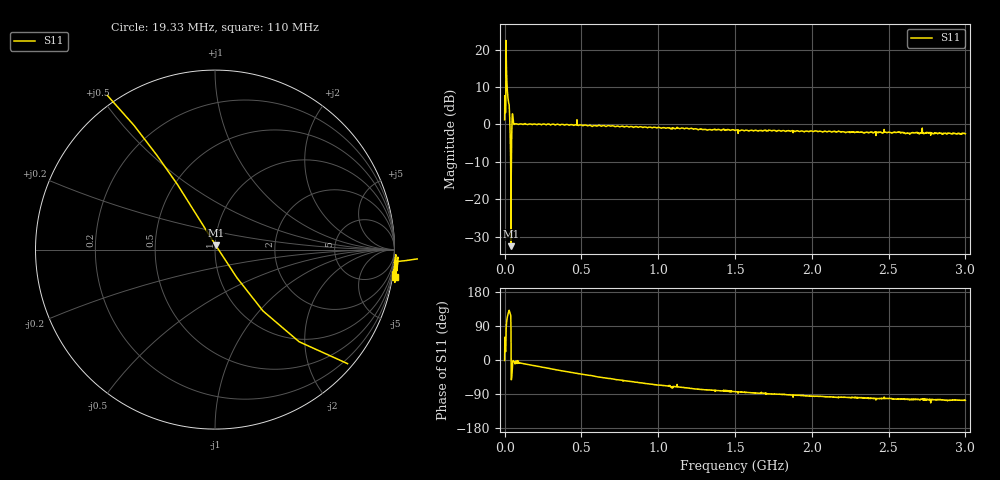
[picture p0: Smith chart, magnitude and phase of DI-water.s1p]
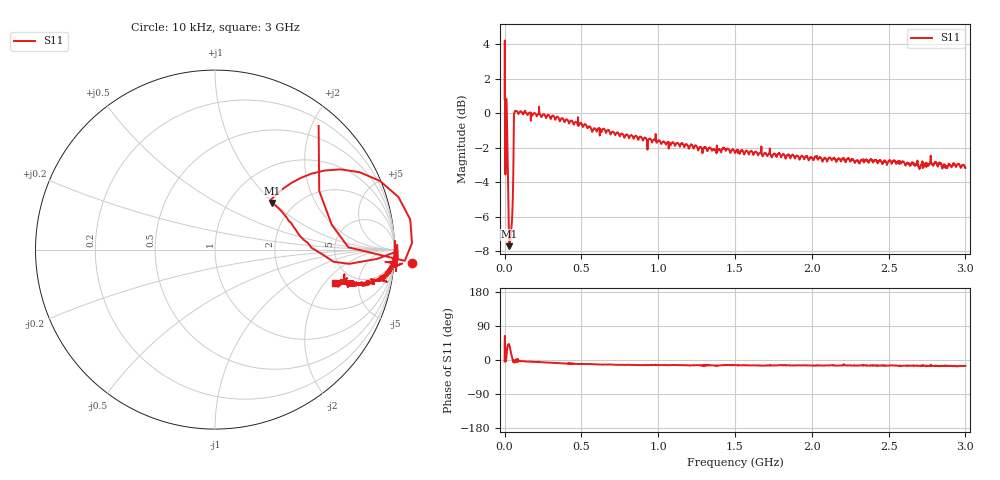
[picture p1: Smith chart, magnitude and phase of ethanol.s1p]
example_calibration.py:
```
#!/usr/bin/env python3
"""
Example: How to use the probe calibration system

This script shows how to:
1. Create a calibration from your reference liquid S1P files
2. Use it to convert unknown samples
3. Save/load calibrations
"""

import numpy as np
from pathlib import Path
from s1p_gui.calibration import ProbeCalibration, ReferenceLibrary
from s1p_gui.data_loader import S1PDataFile
import skrf as rf


def load_s1p_as_dict(filepath):
    """Load S1P file and return as dict with 's11_complex' and 'frequency'"""
    network = rf.Network(str(filepath))
    return {
        'frequency': network.f,
        's11_complex': network.s[:, 0, 0]
    }


def example_basic_calibration():
    """Basic example: Create calibration from three reference liquids"""
    print("=" * 60)
    print("EXAMPLE 1: Basic 3-Liquid Calibration")
    print("=" * 60)

    # Step 1: Create calibration object
    calibration = ProbeCalibration()

    # Step 2: Load reference permittivity data
    print("\n1. Loading reference data for 25°C...")
    reference_data = calibration.load_reference_data(temperature=25.0)
    print("   Loaded reference data for water, ethanol, isopropanol")

    # Step 3: Load your S1P measurements
    # NOTE: You need to have these files!
    print("\n2. Loading S11 measurements for reference liquids...")
    try:
        s11_measurements = {
            'water': load_s1p_as_dict('references/DI-water.s1p'),
            'ethanol': load_s1p_as_dict('references/ethanol.s1p'),
            'isopropanol': load_s1p_as_dict('references/propan-2-ol.s1p'),
        }
        print("   Successfully loaded all reference measurements")
    except FileNotFoundError:
        print("   ERROR: Could not find S1P files. Update the paths!")
        print("   Expected files: water.s1p, ethanol.s1p, isopropanol.s1p")
        return None

    # Step 4: Perform calibration
    print("\n3. Performing calibration...")
    if calibration.calibrate(s11_measurements, reference_data):
        print("   ✓ Calibration successful!")
        return calibration
    else:
        print("   ✗ Calibration failed!")
        return None


def example_convert_unknown(calibration):
    """Example: Use calibration to convert unknown sample"""
    print("\n" + "=" * 60)
    print("EXAMPLE 2: Convert Unknown Sample")
    print("=" * 60)

    if not calibration:
        print("No calibration available!")
        return

    print("\n1. Loading unknown sample...")
    try:
        unknown_data = load_s1p_as_dict('path/to/unknown_sample.s1p')
    except FileNotFoundError:
        print("   ERROR: Could not find unknown_sample.s1p")
        return

    print("   Loaded unknown sample")

    print("\n2. Converting S11 to permittivity...")
    epsilon_real, epsilon_imag = calibration.convert_s11_to_permittivity(
        unknown_data['s11_complex'],
        unknown_data['frequency']
    )

    print("   ✓ Conversion complete!")
    print(f"\n   Frequency range: {unknown_data['frequency'][0]/1e9:.2f} - {unknown_data['frequency'][-1]/1e9:.2f} GHz")
    print(f"   ε' range: {np.nanmin(epsilon_real):.2f} - {np.nanmax(epsilon_real):.2f}")
    print(f"   ε'' range: {np.nanmin(epsilon_imag):.2f} - {np.nanmax(epsilon_imag):.2f}")

    return epsilon_real, epsilon_imag


def example_save_load_calibration(calibration):
    """Example: Save and load calibration"""
    print("\n" + "=" * 60)
    print("EXAMPLE 3: Save and Load Calibration")
    print("=" * 60)

    if not calibration:
        print("No calibration to save!")
        return

    filepath = 'my_probe_calibration.pkl'

    print(f"\n1. Saving calibration to {filepath}...")
    if calibration.save(filepath):
        print("   ✓ Save successful!")

        print(f"\n2. Loading calibration from {filepath}...")
        loaded_cal = ProbeCalibration.load(filepath)
        if loaded_cal and loaded_cal.is_calibrated():
            print("   ✓ Load successful! Calibration is ready to use")
        else:
            print("   ✗ Load failed!")
    else:
        print("   ✗ Save failed!")


def example_with_data_manager():
    """Example: Using calibration with DataManager"""
    print("\n" + "=" * 60)
    print("EXAMPLE 4: Integration with DataManager")
    print("=" * 60)

    from s1p_gui.data_loader import DataManager

    # Create data manager
    print("\n1. Creating data manager...")
    data_manager = DataManager()

    # Load calibration (from previous save, or new)
    print("2. Loading calibration...")
    calibration = ProbeCalibration()
    calibration.load_reference_data()

    # Create dummy measurements for demo
    s11_measurements = {
        'water': {
            'frequency': np.linspace(0.5e9, 3e9, 16),
            's11_complex': 0.5 * np.ones(16)
        },
        'ethanol': {
            'frequency': np.linspace(0.5e9, 3e9, 16),
            's11_complex': 0.4 * np.ones(16)
        },
        'isopropanol': {
            'frequency': np.linspace(0.5e9, 3e9, 16),
            's11_complex': 0.45 * np.ones(16)
        }
    }

    if calibration.calibrate(s11_measurements):
        print("   ✓ Calibration complete")

        # Set calibration in data manager
        print("\n3. Setting calibration in data manager...")
        data_manager.set_calibration(calibration)
        print("   ✓ All future files will use this calibration")

        # When you add files, they automatically use the calibration
        print("\n4. Adding files (they use calibration automatically)...")
        try:
            data_file = data_manager.add_file(Path('path/to/sample.s1p'))
            if data_file:
                print("   ✓ File loaded with automatic calibration applied")
        except:
            print("   (File not found, but calibration is set up)")


def example_reference_data_structure():
    """Example: Understanding the reference data structure"""
    print("\n" + "=" * 60)
    print("EXAMPLE 5: Reference Data Structure")
    print("=" * 60)

    refs = ReferenceLibrary.get_water_25c()

    print("\nWater reference data at 25°C:")
    print(f"  Frequencies: {len(refs['frequency'])} points")
    print(f"  Range: {refs['frequency'][0]/1e9:.2f} - {refs['frequency'][-1]/1e9:.2f} GHz")
    print(f"\n  ε' (real permittivity):")
    print(f"    Min: {np.min(refs['epsilon_real']):.2f}")
    print(f"    Max: {np.max(refs['epsilon_real']):.2f}")
    print(f"\n  ε'' (imaginary permittivity):")
    print(f"    Min: {np.min(refs['epsilon_imag']):.2f}")
    print(f"    Max: {np.max(refs['epsilon_imag']):.2f}")


if __name__ == '__main__':
    print("\n")
    print("╔" + "=" * 58 + "╗")
    print("║" + " " * 58 + "║")
    print("║" + "  Probe Calibration Examples".center(58) + "║")
    print("║" + " " * 58 + "║")
    print("╚" + "=" * 58 + "╝")

    # Run examples
    example_reference_data_structure()

    cal = example_basic_calibration()

    if cal:
        example_convert_unknown(cal)
        example_save_load_calibration(cal)
        example_with_data_manager()

    print("\n" + "=" * 60)
    print("Examples complete!")
    print("=" * 60 + "\n")
```
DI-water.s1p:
# HZ S RI R 50
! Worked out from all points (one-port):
!   2020 points, 10 kHz to 3 GHz, reference 50 ohm
!   lowest |S11| = -32.5 dB at 41.61 MHz (marker M1), VSWR 1.05, Z = 50.4 + j2.35 ohm
!   |S11| at or under -10 dB: 39.28 MHz to 43.99 MHz (4.703 MHz wide, 11.3 % of centre)
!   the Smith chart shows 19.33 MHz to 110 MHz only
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10000  1.152 -0.0271
7439395  1.359 0.5661
1.635467e7  -1.1 2.993
2.378406e7  -1.163 1.749
2.526994e7  -1.176 1.629
2.972758e7  -1.202 1.375
3.56711e7  -0.4498 0.6903
4.161461e7  0.00434 0.0233
5.350164e7  1.314 -0.0996
6.39028e7  1.005 -0.0898
6.077345e8  0.6869 -0.681
1.000007e9  0.3685 -0.8348
2.000003e9  -0.0754 -0.8143
3e9  -0.2141 -0.7208
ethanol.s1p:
# HZ S RI R 50
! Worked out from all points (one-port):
!   2020 points, 10 kHz to 3 GHz, reference 50 ohm
!   lowest |S11| = -7.7 dB at 31.21 MHz (marker M1), VSWR 2.40, Z = 78.2 + j49 ohm
!   |S11| at or under -10 dB: nowhere
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10000  1.098 -0.0767
5953516  0.6506 0.1382
1.635467e7  0.8056 0.4312
1.932643e7  0.6103 0.4405
2.378406e7  0.4279 0.3726
3.121346e7  0.3194 0.2605
3.715698e7  0.3827 0.1988
4.310049e7  0.438 0.1265
6.39028e7  1.005 -0.0333
7.578983e7  1.015 0.0269
4.650901e8  0.9289 -0.1678
1.000007e9  0.8104 -0.1948
2.000003e9  0.7213 -0.1862
3e9  0.6706 -0.1849
